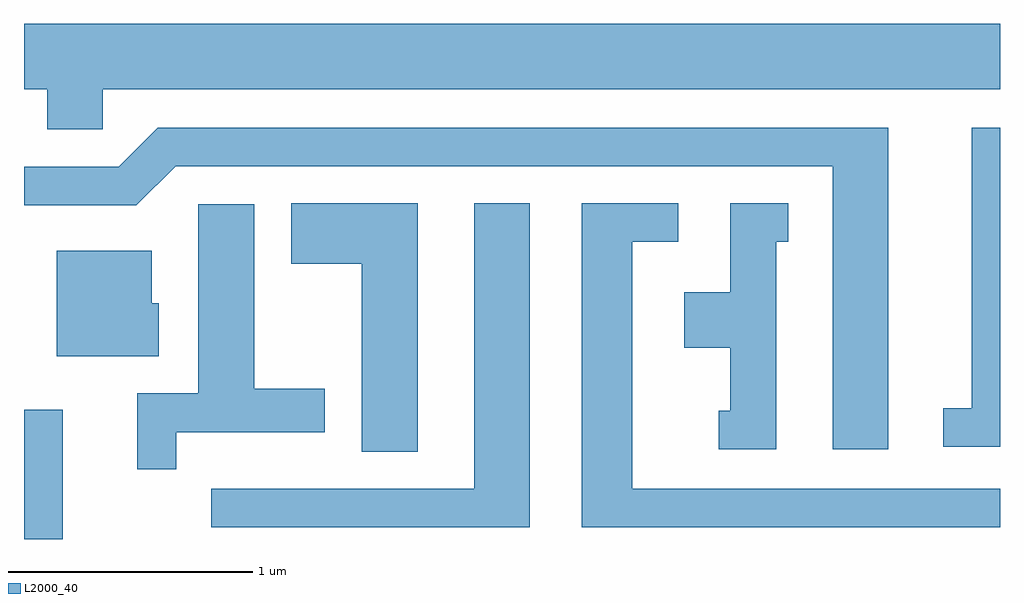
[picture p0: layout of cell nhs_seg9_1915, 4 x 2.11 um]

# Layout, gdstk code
import gdstk
lib = gdstk.Library(unit=1e-6, precision=1e-09)
def R(c, l, rs):  # rectangles x0, y0, x1, y1
    for r in rs: c.add(gdstk.rectangle(r[:2], r[2:], *l))
def P(c, l, *ps):  # polygons
    for p in ps: c.add(gdstk.Polygon(p, *l))
L2000_40 = (2000, 40)

nhs_seg9_1915 = lib.new_cell('nhs_seg9_1915')
R(nhs_seg9_1915, L2000_40, [(241.611,1974.432,241.769,1974.963)])
P(nhs_seg9_1915, L2000_40, [(241.934,1976.276),(245.611,1976.276),(245.611,1976.544),(241.611,1976.544),(241.611,1976.276),(241.706,1976.276),(241.706,1976.111),(241.934,1976.111)],
  [(245.154,1976.119),(242.159,1976.119),(241.999,1975.959),(241.611,1975.959),(241.611,1975.801),(242.072,1975.801),(242.232,1975.961),(244.926,1975.961),(244.926,1974.801),(245.154,1974.801)],
  [(245.611,1976.119),(245.496,1976.119),(245.496,1974.969),(245.378,1974.969),(245.378,1974.811),(245.611,1974.811)],
  [(245.611,1974.639),(244.104,1974.639),(244.104,1975.651),(244.293,1975.651),(244.293,1975.809),(243.896,1975.809),(243.896,1974.481),(245.611,1974.481)],
  [(243.224,1975.809),(242.706,1975.809),(242.706,1975.561),(242.996,1975.561),(242.996,1974.791),(243.224,1974.791)],
  [(243.684,1975.809),(243.456,1975.809),(243.456,1974.639),(242.378,1974.639),(242.378,1974.481),(243.684,1974.481)],
  [(244.694,1975.651),(244.743,1975.651),(244.743,1975.809),(244.506,1975.809),(244.506,1975.444),(244.316,1975.444),(244.316,1975.216),(244.506,1975.216),(244.506,1974.959),(244.458,1974.959),(244.458,1974.801),(244.694,1974.801)],
  [(242.234,1974.871),(242.844,1974.871),(242.844,1975.049),(242.554,1975.049),(242.554,1975.804),(242.326,1975.804),(242.326,1975.029),(242.076,1975.029),(242.076,1974.718),(242.234,1974.718)],
  [(242.164,1975.399),(242.134,1975.399),(242.134,1975.614),(241.746,1975.614),(241.746,1975.181),(242.164,1975.181)])

lib.write_gds('nhs_seg9_1915.gds')
